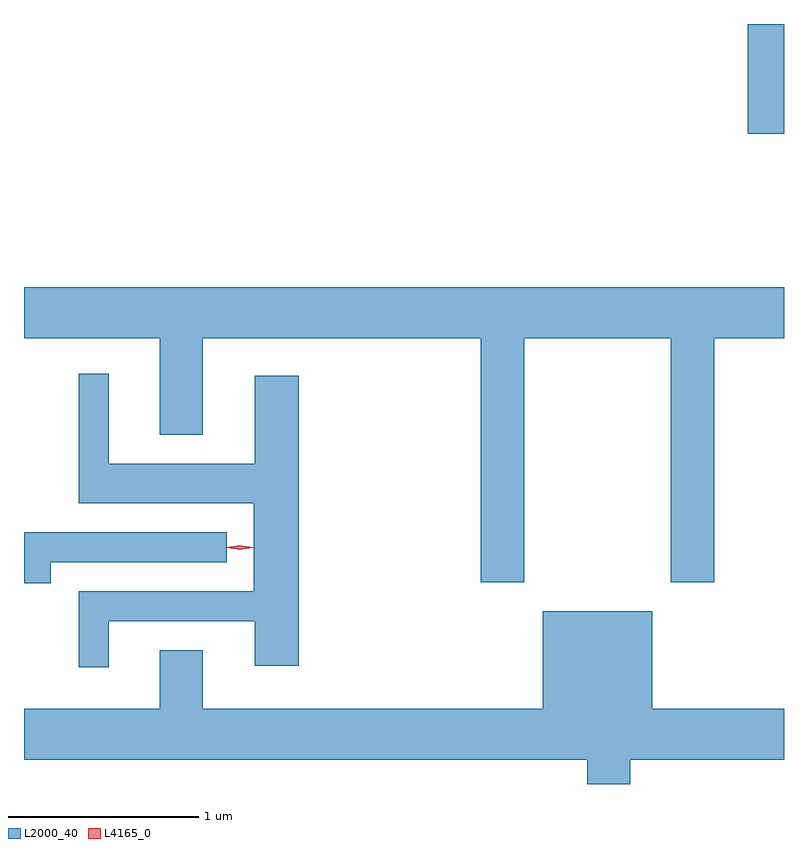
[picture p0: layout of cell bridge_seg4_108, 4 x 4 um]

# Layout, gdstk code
import gdstk
lib = gdstk.Library(unit=1e-6, precision=1e-09)
def R(c, l, rs):  # rectangles x0, y0, x1, y1
    for r in rs: c.add(gdstk.rectangle(r[:2], r[2:], *l))
def P(c, l, *ps):  # polygons
    for p in ps: c.add(gdstk.Polygon(p, *l))
L2000_40 = (2000, 40)
L4165_0 = (4165, 0)

bridge_seg4_108 = lib.new_cell('bridge_seg4_108')
R(bridge_seg4_108, L2000_40, [(922.706,1369.071,922.897,1369.649)])
P(bridge_seg4_108, L2000_40, [(921.529,1367.996),(922.301,1367.996),(922.301,1366.711),(922.529,1366.711),(922.529,1367.996),(922.897,1367.996),(922.897,1368.264),(918.897,1368.264),(918.897,1367.996),(919.611,1367.996),(919.611,1367.486),(919.839,1367.486),(919.839,1367.996),(921.301,1367.996),(921.301,1366.711),(921.529,1366.711)],
  [(919.344,1366.506),(920.111,1366.506),(920.111,1366.271),(920.344,1366.271),(920.344,1367.799),(920.111,1367.799),(920.111,1367.334),(919.344,1367.334),(919.344,1367.808),(919.186,1367.808),(919.186,1367.126),(920.106,1367.126),(920.106,1366.664),(919.186,1366.664),(919.186,1366.263),(919.344,1366.263)],
  [(919.039,1366.816),(919.963,1366.816),(919.963,1366.974),(918.897,1366.974),(918.897,1366.706),(919.039,1366.706)],
  [(922.089,1365.776),(922.897,1365.776),(922.897,1366.044),(922.204,1366.044),(922.204,1366.559),(921.626,1366.559),(921.626,1366.044),(919.839,1366.044),(919.839,1366.354),(919.611,1366.354),(919.611,1366.044),(918.897,1366.044),(918.897,1365.776),(921.861,1365.776),(921.861,1365.649),(922.089,1365.649)])
P(bridge_seg4_108, L4165_0, [(920.033,1366.882),(919.964,1366.892),(919.964,1366.892),(919.964,1366.893),(920.033,1366.902),(920.102,1366.893),(920.103,1366.892),(920.102,1366.892)],
  [(920.033,1366.885),(919.967,1366.894),(919.967,1366.895),(919.967,1366.896),(920.033,1366.905),(920.099,1366.896),(920.099,1366.895),(920.099,1366.894)])

lib.write_gds('bridge_seg4_108.gds')
